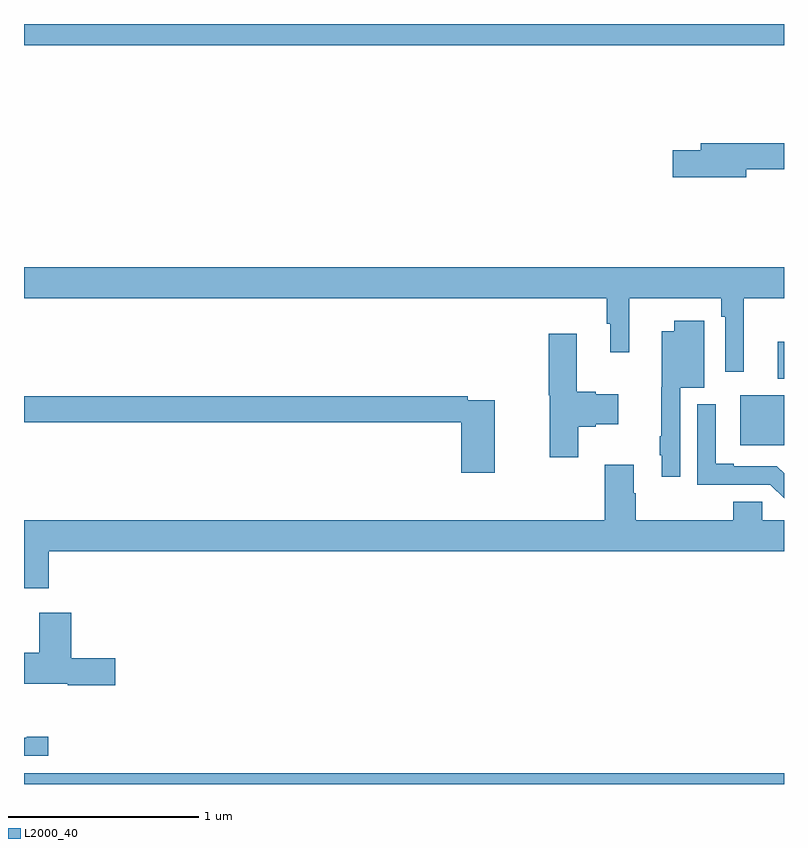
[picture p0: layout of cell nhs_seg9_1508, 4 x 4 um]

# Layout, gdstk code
import gdstk
lib = gdstk.Library(unit=1e-6, precision=1e-09)
def R(c, l, rs):  # rectangles x0, y0, x1, y1
    for r in rs: c.add(gdstk.rectangle(r[:2], r[2:], *l))
def P(c, l, *ps):  # polygons
    for p in ps: c.add(gdstk.Polygon(p, *l))
L2000_40 = (2000, 40)

nhs_seg9_1508 = lib.new_cell('nhs_seg9_1508')
R(nhs_seg9_1508, L2000_40, [(195,1224.5,199,1224.556), (198.77,1226.282,199,1226.545), (198.968,1226.634,199,1226.827), (195,1228.388,199,1228.5)])
P(nhs_seg9_1508, L2000_40, [(198.802,1227.736),(199,1227.736),(199,1227.872),(198.563,1227.872),(198.563,1227.836),(198.414,1227.836),(198.414,1227.694),(198.802,1227.694)],
  [(198.788,1227.056),(199,1227.056),(199,1227.22),(195,1227.22),(195,1227.056),(198.067,1227.056),(198.067,1226.922),(198.086,1226.922),(198.086,1226.772),(198.186,1226.772),(198.186,1227.056),(198.67,1227.056),(198.67,1226.96),(198.69,1226.96),(198.69,1226.67),(198.788,1226.67)],
  [(198.453,1226.585),(198.58,1226.585),(198.58,1226.938),(198.422,1226.938),(198.422,1226.884),(198.356,1226.884),(198.356,1226.589),(198.355,1226.589),(198.355,1226.33),(198.345,1226.33),(198.345,1226.23),(198.356,1226.23),(198.356,1226.118),(198.453,1226.118)],
  [(197.916,1226.381),(198.009,1226.381),(198.009,1226.393),(198.127,1226.393),(198.127,1226.551),(198.009,1226.551),(198.009,1226.564),(197.908,1226.564),(197.908,1226.869),(197.762,1226.869),(197.762,1226.547),(197.767,1226.547),(197.767,1226.22),(197.916,1226.22)],
  [(197.478,1226.52),(197.336,1226.52),(197.336,1226.54),(195,1226.54),(195,1226.404),(197.3,1226.404),(197.3,1226.139),(197.478,1226.139)],
  [(199,1226.135),(198.963,1226.172),(198.736,1226.172),(198.736,1226.185),(198.64,1226.185),(198.64,1226.5),(198.543,1226.5),(198.543,1226.076),(198.927,1226.076),(199,1226.003)],
  [(195.131,1225.724),(199,1225.724),(199,1225.888),(198.885,1225.888),(198.885,1225.986),(198.734,1225.986),(198.734,1225.888),(198.221,1225.888),(198.221,1226.03),(198.208,1226.03),(198.208,1226.179),(198.056,1226.179),(198.056,1225.888),(195,1225.888),(195,1225.53),(195.131,1225.53)],
  [(195.481,1225.163),(195.248,1225.163),(195.248,1225.402),(195.08,1225.402),(195.08,1225.191),(195,1225.191),(195,1225.028),(195.231,1225.028),(195.231,1225.021),(195.481,1225.021)],
  [(195.127,1224.749),(195.014,1224.749),(195.014,1224.744),(195,1224.744),(195,1224.648),(195.127,1224.648)])

lib.write_gds('nhs_seg9_1508.gds')
